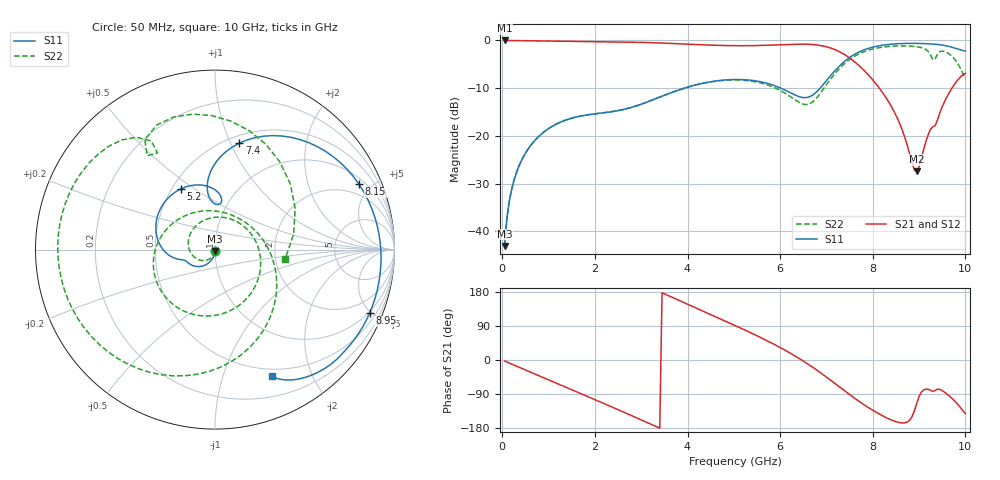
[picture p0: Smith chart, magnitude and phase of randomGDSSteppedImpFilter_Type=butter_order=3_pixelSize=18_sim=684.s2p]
! freq	dB(S11)	phase(S11)	dB(S12)	phase(S12)
!  dB(S21)	phase(S21)	dB(S22)	phase(S22)
!S-par simulation data
#  GHz  S  DB  R 50
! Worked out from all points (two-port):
!   200 points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, 50 MHz to 10 GHz, reference 50 ohm
!   highest |S21| = -0.01 dB at 50 MHz (marker M1); lowest = -27.5 dB at 8.95 GHz (marker M2)
!   |S21| within 3 dB of the highest: start of sweep to 7.397 GHz
!   lowest |S11| = -43.1 dB at 50 MHz (marker M3), VSWR 1.01, Z = 50 - j0.698 ohm
!   |S11| at or under -10 dB: start of sweep to 3.932 GHz; 6.012 GHz to 6.863 GHz (851.1 MHz wide, 13.2 % of centre)
!   |S22| runs from -43.1 to -1.1 dB; largest |S21 - S12| = 0
!   S11 on the Smith chart (normalised r, x): 50 MHz: 1.00, -0.01; 5.2 GHz: 0.55, +0.44; 7.4 GHz: 0.57, +1.08; 8.15 GHz: 1.30, +4.24; 8.95 GHz: 0.91, -4.88; 10 GHz: 0.41, -1.46
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0.05  -43.12 -90.1  -0.01 -2.7  -0.01 -2.7  -43.13 -91.5
0.2  -31.29 -97.7  -0.02 -10.6  -0.02 -10.6  -31.31 -102.9
0.5  -23.63 -110.2  -0.05 -26.3  -0.05 -26.3  -23.65 -123.3
1.75  -15.76 -150.9  -0.22 -91.4  -0.22 -91.4  -15.73 146.4
2.7  -14.28 -163.0  -0.34 -141.8  -0.34 -141.8  -14.25 58.0
3.4  -11.88 -172.3  -0.53 -179.9  -0.53 -179.9  -11.87 -8.4
4.3  -9.03 158.8  -0.91 130.9  -0.91 130.9  -9.07 -77.2
5.05  -8.19 126.4  -1.11 89.7  -1.11 89.7  -8.30 -126.5
5.2  -8.22 119.6  -1.11 81.2  -1.11 81.2  -8.36 -136.4
6.15  -10.62 83.3  -0.84 22.8  -0.84 22.8  -11.34 144.3
6.7  -11.47 93.4  -0.86 -18.9  -0.86 -18.9  -12.91 43.7
7.1  -7.25 93.3  -1.62 -54.3  -1.62 -54.3  -7.96 -30.5
7.4  -4.31 77.1  -3.02 -82.2  -3.02 -82.2  -4.78 -70.2
7.75  -2.22 52.3  -5.70 -113.1  -5.70 -113.1  -2.61 -108.2
8.15  -1.10 24.5  -10.10 -143.2  -10.10 -143.2  -1.50 -144.8
8.35  -0.83 11.6  -12.99 -155.5  -12.99 -155.5  -1.26 -161.3
8.95  -0.62 -22.4  -27.47 -114.0  -27.47 -114.0  -1.32 149.8
9.25  -0.74 -37.5  -18.57 -80.2  -18.57 -80.2  -3.08 120.4
9.4  -0.84 -44.8  -16.60 -76.8  -16.60 -76.8  -2.78 122.6
9.6  -1.16 -54.0  -11.85 -89.5  -11.85 -89.5  -2.54 91.3
9.85  -1.84 -63.2  -8.13 -119.1  -8.13 -119.1  -5.09 41.1
10  -2.23 -65.9  -6.90 -141.8  -6.90 -141.8  -8.10 -7.9
